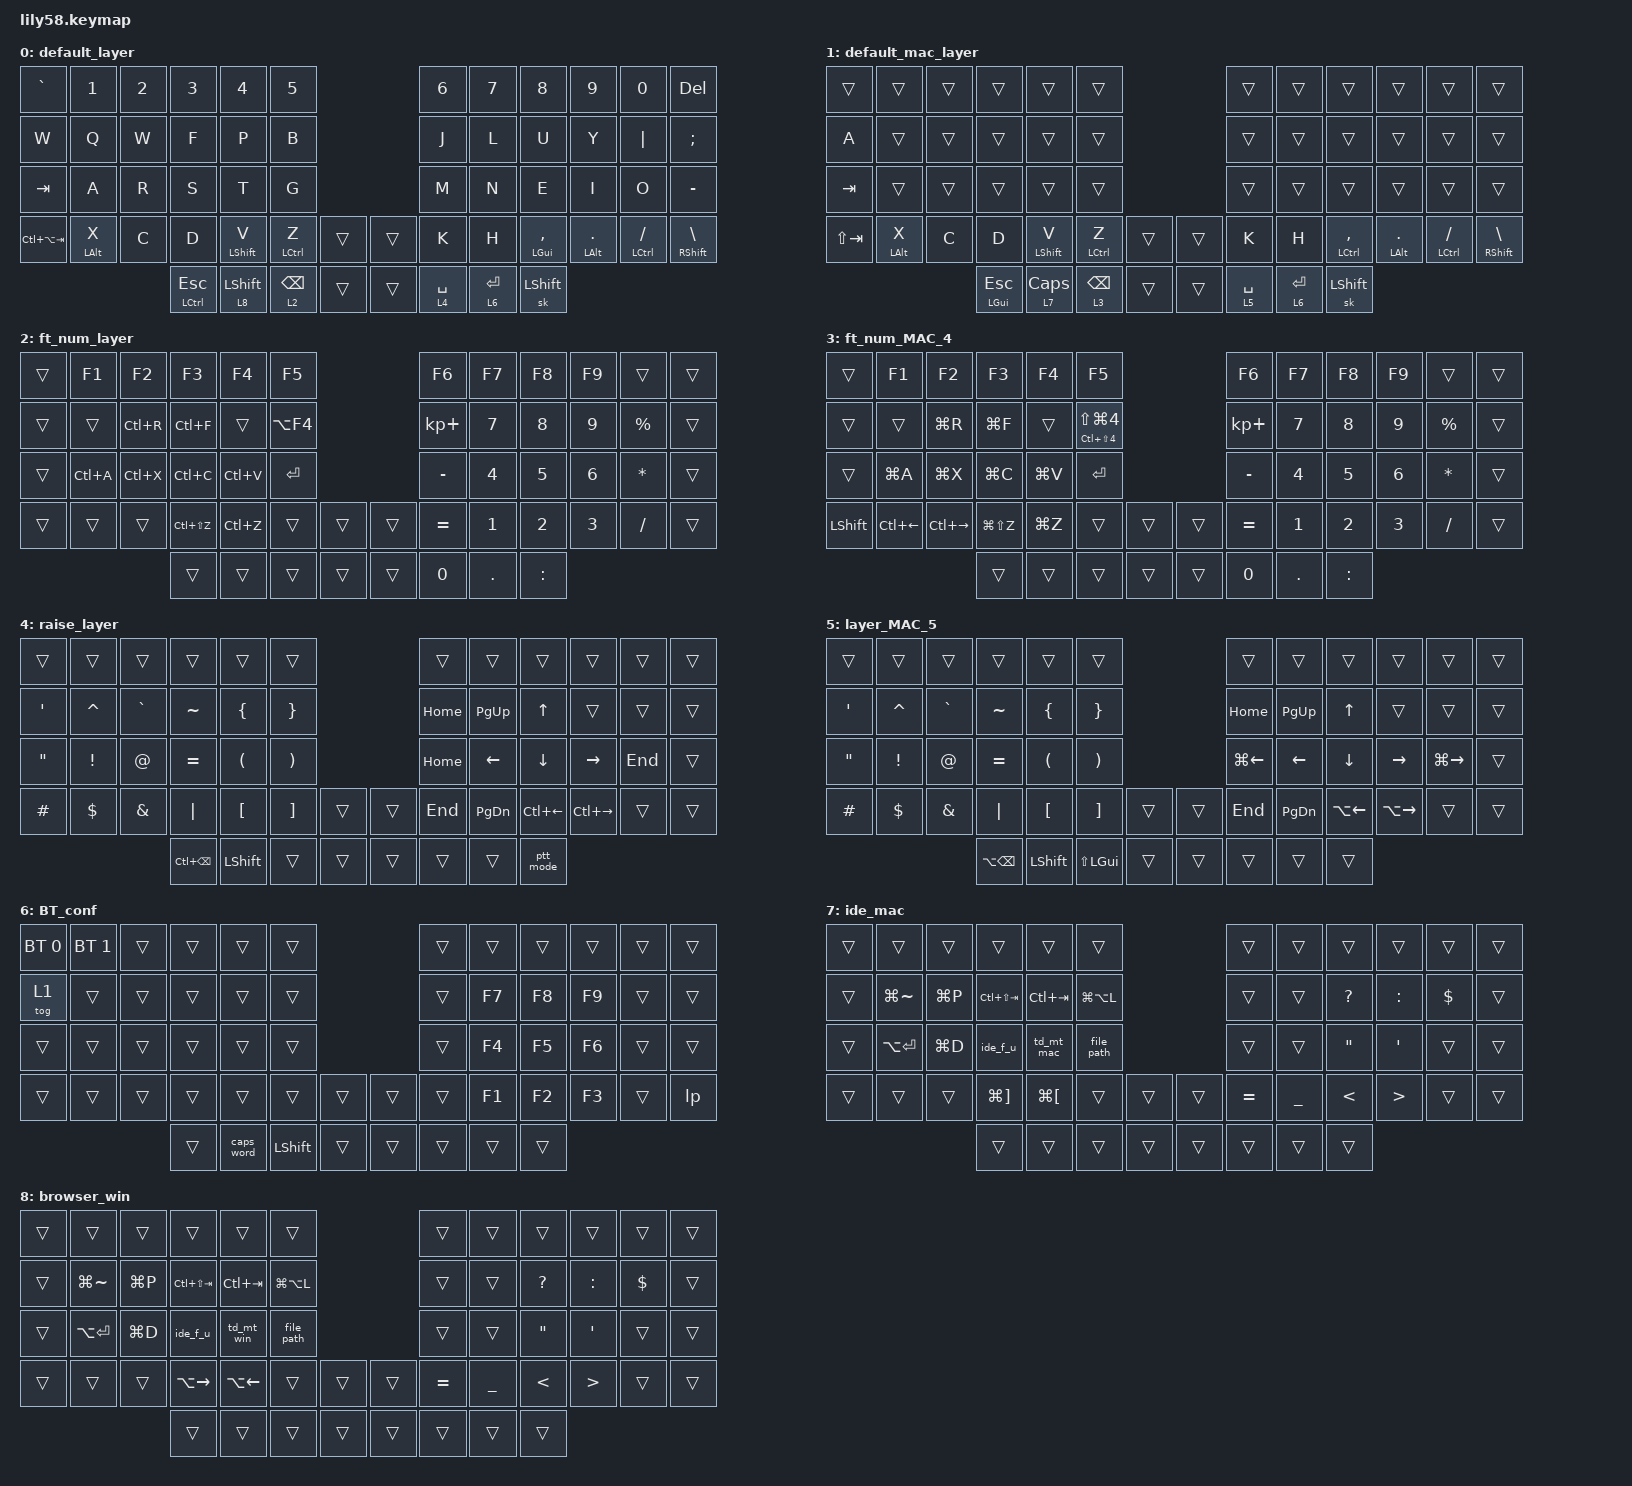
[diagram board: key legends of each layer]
/*
 * Copyright (c) 2020 The ZMK Contributors
 *
 * SPDX-License-Identifier: MIT
 */

#include <behaviors.dtsi>
#include <dt-bindings/zmk/bt.h>
#include <dt-bindings/zmk/keys.h>

/ {
    behaviors {
        //backspace, layer 1

        layer_tap: hold_tap {
            compatible = "zmk,behavior-hold-tap";
            #binding-cells = <2>;
            flavor = "hold-preferred";
            tapping-term-ms = <200>;
            bindings = <&mo>, <&kp>;

            display-name = "hold_layer_tap_kp";
        };

        letter_tap: letter_h_tap {
            compatible = "zmk,behavior-hold-tap";
            #binding-cells = <2>;
            flavor = "tap-preferred";
            tapping-term-ms = <200>;
            bindings = <&kp>, <&kp>;

            display-name = "letter_tap_hold_feat";
        };

        ide_f_u: tap_dance {
            compatible = "zmk,behavior-tap-dance";
            label = "find_usage";
            #binding-cells = <0>;
            bindings = <&kp LG(B)>, <&kp LG(LA(B))>;

            display-name = "ide_find_usage";
        };

        ide_r_file: ide_result_file {
            compatible = "zmk,behavior-tap-dance";
            label = "recent_file";
            #binding-cells = <0>;
            bindings = <&kp LG(E)>, <&shift_shift>;

            display-name = "ide_recent_file";
        };

        td_mt_win: tap_dance_mod_tap_win {
            compatible = "zmk,behavior-tap-dance";
            label = "hold_to_restore_browser_page";
            #binding-cells = <0>;
            tapping-term-ms = <200>;
            bindings = <&mt LS(LC(T)) LG(E)>, <&shift_shift>;
        };

        td_mt_mac: tap_dance_mod_tap_mac {
            compatible = "zmk,behavior-tap-dance";
            label = "ide_recent_file_and_restore_browser_page";
            #binding-cells = <0>;
            tapping-term-ms = <200>;
            bindings = <&mt LS(LG(T)) LG(E)>, <&shift_shift>;
        };


        tog_off: toggle_layer_off_only {
            compatible = "zmk,behavior-toggle-layer";
            #binding-cells = <1>;
            display-name = "Toggle Layer Off";
            toggle-mode = "off";
        };

        tog_on: toggle_layer_on_only {
            compatible = "zmk,behavior-toggle-layer";
            #binding-cells = <1>;
            display-name = "Toggle Layer On";
            toggle-mode = "on";
        };
		
        ptt_mode: ptt_mode {
            compatible = "zmk,behavior-tap-dance";
            label = "PTT_MODE";
            #binding-cells = <0>;
            tapping-term-ms = <200>;
            bindings = <&tog_off 4>, <&tog_on 4>;
        };
    };
};

&sk {
    release-after-ms = <2000>;
    quick-release;
};

/ {
    macros {
        lp: login_code {
            compatible = "zmk,behavior-macro";
            #binding-cells = <0>;
            bindings = <&kp U &kp N4 &kp J &kp O &kp N3 &kp N2 &kp K &kp N7>;
            label = "lp";
        };

        file_path: file_path {
            compatible = "zmk,behavior-macro";
            #binding-cells = <0>;
            bindings = <&kp LA(F1)>, <&macro_wait_time 100>, <&kp N1>;

            label = "file_path";
        };

        shift_shift: shift_shift {
            compatible = "zmk,behavior-macro";
            #binding-cells = <0>;
            bindings = <&kp LEFT_SHIFT &kp LEFT_SHIFT>;
            label = "SHIFT_SHIFT";
        };
    };

    keymap {
        compatible = "zmk,keymap";

        default_layer {
            // ------------------------------------------------------------------------------------------------------------
            // | GRAVE   |  1  |  2  |  3   |  4   |  5   |                  |  6   |  7    |  8    |  9   |   0   |   `   |
            // | W(WIN OS) |  Q  |  W  |  E   |  R   |  T   |                  |  Y   |  U    |  I    |  O   |   |  |   -   |
            // | TAB    |  A  |  S  |  D   |  F   |  G   |                  |  H   |  J    |  K    |  L   |   ;   |   '   |
            // | sw app |  Z  |  X  |  C   |  V   |  B   | trans |  | trans |  N   |  M    |  ,    |  .   |   /   | SHIFT |
            //                 | ctl esc  | LANG_L3  | BS_L1 | trans |  | trans | SPACE_L2 | ENTER_L4  | GUI   |

            bindings = <
&kp GRAVE        &kp N1                  &kp N2  &kp N3         &kp N4                    &kp N5                                    &kp N6              &kp N7              &kp N8                      &kp N9                    &kp N0                  &kp DELETE
&kp W            &kp Q                   &kp W   &kp F          &kp P                     &kp B                                     &kp J               &kp L               &kp U                       &kp Y                     &kp PIPE                &kp SEMI
&kp TAB          &kp A                   &kp R   &kp S          &kp T                     &kp G                                     &kp M               &kp N               &kp E                       &kp I                     &kp O                   &kp MINUS
&kp LC(LA(TAB))  &letter_tap LEFT_ALT X  &kp C   &kp D          &letter_tap LEFT_SHIFT V  &letter_tap LCTRL Z             &trans    &trans  &kp K               &kp H               &mt LEFT_GUI COMMA  &letter_tap LEFT_ALT DOT  &letter_tap LCTRL FSLH  &letter_tap RSHFT BACKSLASH
                                                 &mt LCTRL ESC  &layer_tap 8 LEFT_SHIFT   &layer_tap 2 BACKSPACE  &trans    &trans  &layer_tap 4 SPACE  &layer_tap 6 ENTER  &sk LSHFT
            >;
        };

        default_mac_layer {
            // ------------------------------------------------------------------------------------------------------------
            // | GRAVE  |  1  |  2  |  3   |  4   |  5   |                  |  6   |  7    |  8    |  9   |   0   |   `   |
            // |        |  Q  |  W  |  E   |  R   |  T   |                  |  Y   |  U    |  I    |  O   |   |  |   -   |
            // | CTRL   |  A  |  S  |  D   |  F   |  G   |                  |  H   |  J    |  K    |  L   |   ;   |   '   |
            // | SH+TAB |  Z  |  X  |  C   |  V   |  B   | trans |  | trans |  N   |  M    |  ,    |  .   |   /   | SHIFT |
            //                 | ALT  | LANG_L3  | BS_L1 | trans |  | trans | SPACE_L2 | ENTER_L4  | GUI   |

            bindings = <
&trans       &trans                  &trans  &trans        &trans                    &trans                                    &trans              &trans              &trans                   &trans                    &trans                  &trans
&kp A        &trans                  &trans  &trans        &trans                    &trans                                    &trans              &trans              &trans                   &trans                    &trans                  &trans
&kp TAB      &trans                  &trans  &trans        &trans                    &trans                                    &trans              &trans              &trans                   &trans                    &trans                  &trans
&kp LS(TAB)  &letter_tap LEFT_ALT X  &kp C   &kp D         &letter_tap LEFT_SHIFT V  &letter_tap LCTRL Z             &trans    &trans  &kp K               &kp H               &letter_tap LCTRL COMMA  &letter_tap LEFT_ALT DOT  &letter_tap LCTRL FSLH  &letter_tap RSHFT BACKSLASH
                                             &mt LGUI ESC  &layer_tap 7 CAPS         &layer_tap 3 BACKSPACE  &trans    &trans  &layer_tap 5 SPACE  &layer_tap 6 ENTER  &sk LSHIFT
            >;
        };

        ft_num_layer {
            // ------------------------------------------------------------------------------------------------------------
            // |    |       |      |      |       |       |                   |     |       |       |      |       |       |
            // |    | rpl   | find |      |       |       |                   |  +  |  7  |  8  |  9  |  %   |     |
            // |    |slt All| cut  | copy | paste | ENTER |                   |  -  |  4  |  5  |  6  |  *   |     |
            // |    |       |      |      |       |       |        |  |       |  =  |  1  |  2  |  3  |  /   |     |
            //                     |      |       |       |        |  |       |  0  |  .  |  :  |

            bindings = <
&trans  &kp F1     &kp F2     &kp F3         &kp F4     &kp F5                        &kp F6       &kp F7   &kp F8     &kp F9  &trans     &trans
&trans  &trans     &kp LC(R)  &kp LC(F)      &trans     &kp LA(F4)                    &kp KP_PLUS  &kp N7   &kp N8     &kp N9  &kp PRCNT  &trans
&trans  &kp LC(A)  &kp LC(X)  &kp LC(C)      &kp LC(V)  &kp ENTER                     &kp MINUS    &kp N4   &kp N5     &kp N6  &kp ASTRK  &trans
&trans  &trans     &trans     &kp LC(LS(Z))  &kp LC(Z)  &trans      &trans    &trans  &kp EQUAL    &kp N1   &kp N2     &kp N3  &kp FSLH   &trans
                              &trans         &trans     &trans      &trans    &trans  &kp N0       &kp DOT  &kp COLON
            >;
        };

        ft_num_MAC_4 {
            // ------------------------------------------------------------------------------------------------------------
            // |    |       |      |      |       |       |                   |     |       |       |      |       |       |
            // |    | rpl   | find |      |       |       |                   |  +  |  7  |  8  |  9  |  %   |     |
            // |    |slt All| cut  | copy | paste | ENTER |                   |  -  |  4  |  5  |  6  |  *   |     |
            // |    |       |      |      |       |       |        |  |       |  =  |  1  |  2  |  3  |  /   |     |
            //                     |      |       |       |        |  |       |  0  |  .  |  :  |

            bindings = <
&trans  &kp F1     &kp F2     &kp F3         &kp F4     &kp F5                        &kp F6       &kp F7   &kp F8     &kp F9  &trans     &trans
&trans          &trans        &kp LG(R)      &kp LG(F)      &trans     &mt LC(LS(NUMBER_4)) LS(LG(NUMBER_4))                    &kp KP_PLUS  &kp N7  &kp N8  &kp N9  &kp PRCNT  &trans
&trans          &kp LG(A)     &kp LG(X)      &kp LG(C)      &kp LG(V)  &kp ENTER                                                &kp MINUS    &kp N4  &kp N5  &kp N6  &kp ASTRK  &trans
&kp LEFT_SHIFT  &kp LC(LEFT)  &kp LC(RIGHT)  &kp LG(LS(Z))  &kp LG(Z)  &trans                                 &trans    &trans  &kp EQUAL    &kp N1  &kp N2  &kp N3  &kp FSLH   &trans
                                             &trans         &trans     &trans                                 &trans    &trans  &kp N0       &kp DOT  &kp COLON
            >;
        };

        raise_layer {
            // ------------------------------------------------------------------------------------------------------------
            // |     |     |     |     |     |     |                   |       |       |     |      |       |       |
            // |  '  |  ^  |  `  |  ~  |  {  |  }  |                   | HOME  |  PAGE_UP    |  ^        |            |       |    |
            // |  "  |  !  |  @  |  =  |  (  |  )  |                   | HOME  |  <-         |  v        |  ->        |  END  |    |
            // |  #  |  $  |  &  |  |  |  [  |  ]  |        |  |       | END   |  PAGE_DOWN  |  LCT_LEFT |  LCT_RIGHT |       |    |
            //                   |  CTR_BACK | LSH |        |  |       |   |   |   |  |

            bindings = <
&trans             &trans      &trans         &trans             &trans      &trans                      &trans    &trans         &trans        &trans         &trans   &trans
&kp SQT            &kp CARET   &kp GRAVE      &kp TILDE          &kp LBRC    &kp RBRC                    &kp HOME  &kp PAGE_UP    &kp UP        &trans         &trans   &trans
&kp DOUBLE_QUOTES  &kp EXCL    &kp AT_SIGN    &kp EQUAL          &kp LPAR    &kp RPAR                    &kp HOME  &kp LEFT       &kp DOWN      &kp RIGHT      &kp END  &trans
&kp HASH           &kp DOLLAR  &kp AMPERSAND  &kp PIPE           &kp LBKT    &kp RBKT  &trans    &trans  &kp END   &kp PAGE_DOWN  &kp LC(LEFT)  &kp LC(RIGHT)  &trans   &trans
                                              &kp LC(BACKSPACE)  &kp LSHIFT  &trans    &trans    &trans  &trans    &trans         &ptt_mode
            >;
        };

        layer_MAC_5 {
            // ------------------------------------------------------------------------------------------------------------
            // |     |     |     |     |     |     |                   |         |       |     |     |       |       |
            // |  '  |  ^  |  `  |  ~  |  {  |  }  |                   | HOME    |  PAGE_UP    |  ^       |            |       |    |
            // |  "  |  !  |  @  |  =  |  (  |  )  |                   | LG_LEFT |  <-         |  v       |  ->        |  LG_RIGHT  |    |
            // |  #  |  $  |  &  |  |  |  [  |  ]  |        |  |       | END     |  PAGE_DOWN  |  LA_LEFT |  LA_RIGHT  |       |    |
            //                   |  CTR_BACK | LSH |        |  |       |   |   |   |  |

            bindings = <
&trans             &trans      &trans         &trans             &trans      &trans                              &trans        &trans         &trans        &trans         &trans         &trans
&kp SQT            &kp CARET   &kp GRAVE      &kp TILDE          &kp LBRC    &kp RBRC                            &kp HOME      &kp PAGE_UP    &kp UP        &trans         &trans         &trans
&kp DOUBLE_QUOTES  &kp EXCL    &kp AT_SIGN    &kp EQUAL          &kp LPAR    &kp RPAR                            &kp LG(LEFT)  &kp LEFT       &kp DOWN      &kp RIGHT      &kp LG(RIGHT)  &trans
&kp HASH           &kp DOLLAR  &kp AMPERSAND  &kp PIPE           &kp LBKT    &kp RBKT          &trans    &trans  &kp END       &kp PAGE_DOWN  &kp LA(LEFT)  &kp LA(RIGHT)  &trans         &trans
                                              &kp LA(BACKSPACE)  &kp LSHIFT  &kp LS(LEFT_GUI)  &trans    &trans  &trans        &trans         &trans
            >;
        };

        BT_conf {
            bindings = <
&bt BT_SEL 0  &bt BT_SEL 1  &trans  &trans  &trans      &trans                            &trans  &trans  &trans  &trans  &trans  &trans
&tog 1        &trans        &trans  &trans  &trans      &trans                            &trans  &kp F7  &kp F8  &kp F9  &trans  &trans
&trans        &trans        &trans  &trans  &trans      &trans                            &trans  &kp F4  &kp F5  &kp F6  &trans  &trans
&trans        &trans        &trans  &trans  &trans      &trans          &trans    &trans  &trans  &kp F1  &kp F2  &kp F3  &trans  &lp
                                    &trans  &caps_word  &kp LEFT_SHIFT  &trans    &trans  &trans  &trans  &trans
            >;
        };

        ide_mac {
            bindings = <
&trans  &trans         &trans     &trans                 &trans                &trans                           &trans     &trans          &trans             &trans            &trans      &trans
&trans  &kp LG(TILDE)  &kp LG(P)  &kp LC(LS(TAB))        &kp LC(TAB)           &kp LG(LA(L))                    &trans     &trans          &kp QUESTION       &kp COLON         &kp DOLLAR  &trans
&trans  &kp LA(ENTER)  &kp LG(D)  &ide_f_u               &td_mt_mac            &file_path                       &trans     &trans          &kp DOUBLE_QUOTES  &kp SQT           &trans      &trans
&trans  &trans         &trans     &kp LG(RIGHT_BRACKET)  &kp LG(LEFT_BRACKET)  &trans         &trans    &trans  &kp EQUAL  &kp UNDERSCORE  &kp LESS_THAN      &kp GREATER_THAN  &trans      &trans
                                  &trans                 &trans                &trans         &trans    &trans  &trans     &trans          &trans
            >;
        };

        browser_win {
            bindings = <
&trans  &trans         &trans     &trans           &trans        &trans                           &trans     &trans          &trans             &trans            &trans      &trans
&trans  &kp LG(TILDE)  &kp LG(P)  &kp LC(LS(TAB))  &kp LC(TAB)   &kp LG(LA(L))                    &trans     &trans          &kp QUESTION       &kp COLON         &kp DOLLAR  &trans
&trans  &kp LA(ENTER)  &kp LG(D)  &ide_f_u         &td_mt_win    &file_path                       &trans     &trans          &kp DOUBLE_QUOTES  &kp SQT           &trans      &trans
&trans  &trans         &trans     &kp LA(RIGHT)    &kp LA(LEFT)  &trans         &trans    &trans  &kp EQUAL  &kp UNDERSCORE  &kp LESS_THAN      &kp GREATER_THAN  &trans      &trans
                                  &trans           &trans        &trans         &trans    &trans  &trans     &trans          &trans
            >;
        };
    };
};
